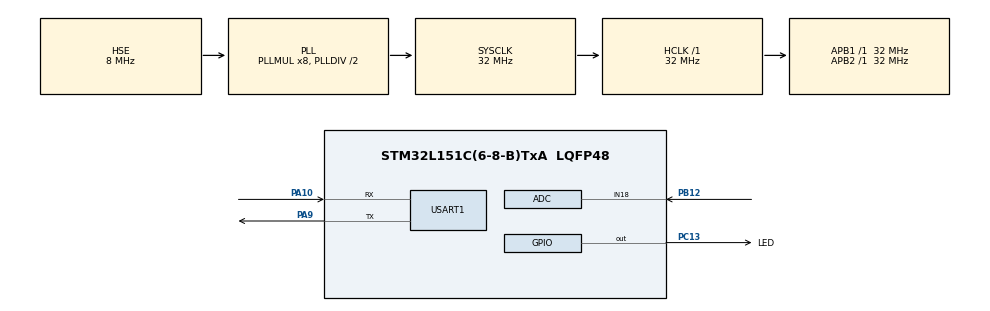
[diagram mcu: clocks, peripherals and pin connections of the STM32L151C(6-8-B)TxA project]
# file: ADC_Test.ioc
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ADC.Channel-0\#ChannelRegularConversion=ADC_CHANNEL_18
ADC.ClockPrescaler=ADC_CLOCK_ASYNC_DIV4
ADC.EOCSelection=ADC_EOC_SINGLE_CONV
ADC.NbrOfConversionFlag=1
ADC.Rank-0\#ChannelRegularConversion=1
ADC.SamplingTime-0\#ChannelRegularConversion=ADC_SAMPLETIME_16CYCLES
Mcu.Family=STM32L1
Mcu.Name=STM32L151C(6-8-B)TxA
Mcu.Package=LQFP48
NVIC.ADC1_IRQn=true\:0\:0\:true\:false\:true\:true\:true\:true
NVIC.PriorityGroup=NVIC_PRIORITYGROUP_4
PA10.Mode=Asynchronous
PA10.Signal=USART1_RX
PA13.Mode=Serial_Wire
PA13.Signal=SYS_JTMS-SWDIO
PA14.Mode=Serial_Wire
PA14.Signal=SYS_JTCK-SWCLK
PA9.Mode=Asynchronous
PA9.Signal=USART1_TX
PB12.Mode=IN18
PB12.Signal=ADC_IN18
PC13-WKUP2.GPIO_Label=LED
PC13-WKUP2.GPIO_ModeDefaultOutputPP=GPIO_MODE_OUTPUT_OD
PC13-WKUP2.GPIO_PuPd=GPIO_NOPULL
PC13-WKUP2.PinState=GPIO_PIN_RESET
PC13-WKUP2.Signal=GPIO_Output
PH0-OSC_IN.Mode=HSE-External-Oscillator
PH0-OSC_IN.Signal=RCC_OSC_IN
PH1-OSC_OUT.Mode=HSE-External-Oscillator
PH1-OSC_OUT.Signal=RCC_OSC_OUT
ProjectManager.HeapSize=0x200
ProjectManager.StackSize=0x400
ProjectManager.TargetToolchain=MDK-ARM V5.32
RCC.48MHZClocksFreq_Value=32000000
RCC.AHBFreq_Value=32000000
RCC.APB1Freq_Value=32000000
RCC.APB1TimFreq_Value=32000000
RCC.APB2Freq_Value=32000000
RCC.APB2TimFreq_Value=32000000
RCC.HCLKFreq_Value=32000000
RCC.HSE_VALUE=8000000
RCC.HSI_VALUE=16000000
RCC.LSE_VALUE=32768
RCC.MSI_VALUE=2097000
RCC.PLLMUL=RCC_PLL_MUL8
RCC.PLLSourceVirtual=RCC_PLLSOURCE_HSE
RCC.SYSCLKFreq_VALUE=32000000
RCC.SYSCLKSource=RCC_SYSCLKSOURCE_PLLCLK
RCC.VCOOutputFreq_Value=64000000
USART1.VirtualMode=VM_ASYNC
board=custom

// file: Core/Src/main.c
/* USER CODE BEGIN Header */
/**
 ******************************************************************************
 * @file           : main.c
 * @brief          : Main program body
 ******************************************************************************
 * @attention
 *
 * Copyright (c) 2026 STMicroelectronics.
 * All rights reserved.
 *
 * This software is licensed under terms that can be found in the LICENSE file
 * in the root directory of this software component.
 * If no LICENSE file comes with this software, it is provided AS-IS.
 *
 ******************************************************************************
 */
/* USER CODE END Header */
#include "main.h"
#include "adc.h"
#include "usart.h"
#include "gpio.h"

/* USER CODE BEGIN PV */
volatile uint16_t adc_value = 0;
volatile uint32_t adc_count = 0;
volatile uint32_t adc_sum = 0;
uint16_t adc_avg = 0;
uint16_t Vbat_mV = 0;
uint8_t u8V[2]={0};
/* USER CODE END PV */

void SystemClock_Config(void);

int main(void)
{

  /* MCU Configuration--------------------------------------------------------*/

  /* Reset of all peripherals, Initializes the Flash interface and the Systick. */
  HAL_Init();

  /* Configure the system clock */
  SystemClock_Config();

  /* Initialize all configured peripherals */
  MX_GPIO_Init();
  MX_ADC_Init();
  MX_USART1_UART_Init();
  /* USER CODE BEGIN 2 */
    HAL_ADC_Start_IT(&hadc);
		HAL_UART_Transmit(&huart1, (uint8_t *)"System is ready\r\n", 17,100);
		HAL_Delay(200);
  /* USER CODE END 2 */

  /* Infinite loop */
  /* USER CODE BEGIN WHILE */
    while (1)
    {
        led_on;
        HAL_Delay(500);
        led_off;
        HAL_Delay(500);
        if (adc_count > 0)
        {
            adc_sum += adc_value;
            adc_avg = (uint16_t)(adc_sum * 1.0 / (adc_count));
            Vbat_mV=Battery_mV(adc_avg);
					  u8V[0]=(uint8_t)(Vbat_mV>>8);
						u8V[1]=(uint8_t)(Vbat_mV&0x00FF);
        }
        if (adc_count >= 4)
        {
					HAL_UART_Transmit(&huart1,u8V,2,100);
          adc_sum = 0;
          adc_count = 0;
        }
				HAL_ADC_Start_IT(&hadc);
    /* USER CODE END WHILE */

    }
}

void SystemClock_Config(void)
{
  RCC_OscInitTypeDef RCC_OscInitStruct = {0};
  RCC_ClkInitTypeDef RCC_ClkInitStruct = {0};

  /** Configure the main internal regulator output voltage
  */
  __HAL_PWR_VOLTAGESCALING_CONFIG(PWR_REGULATOR_VOLTAGE_SCALE1);

  /** Initializes the RCC Oscillators according to the specified parameters
  * in the RCC_OscInitTypeDef structure.
  */
  RCC_OscInitStruct.OscillatorType = RCC_OSCILLATORTYPE_HSI|RCC_OSCILLATORTYPE_HSE;
  RCC_OscInitStruct.HSEState = RCC_HSE_ON;
  RCC_OscInitStruct.HSIState = RCC_HSI_ON;
  RCC_OscInitStruct.HSICalibrationValue = RCC_HSICALIBRATION_DEFAULT;
  RCC_OscInitStruct.PLL.PLLState = RCC_PLL_ON;
  RCC_OscInitStruct.PLL.PLLSource = RCC_PLLSOURCE_HSE;
  RCC_OscInitStruct.PLL.PLLMUL = RCC_PLL_MUL8;
  RCC_OscInitStruct.PLL.PLLDIV = RCC_PLL_DIV2;
  if (HAL_RCC_OscConfig(&RCC_OscInitStruct) != HAL_OK)
  {
    Error_Handler();
  }

  /** Initializes the CPU, AHB and APB buses clocks
  */
  RCC_ClkInitStruct.ClockType = RCC_CLOCKTYPE_HCLK|RCC_CLOCKTYPE_SYSCLK
                              |RCC_CLOCKTYPE_PCLK1|RCC_CLOCKTYPE_PCLK2;
  RCC_ClkInitStruct.SYSCLKSource = RCC_SYSCLKSOURCE_PLLCLK;
  RCC_ClkInitStruct.AHBCLKDivider = RCC_SYSCLK_DIV1;
  RCC_ClkInitStruct.APB1CLKDivider = RCC_HCLK_DIV1;
  RCC_ClkInitStruct.APB2CLKDivider = RCC_HCLK_DIV1;

  if (HAL_RCC_ClockConfig(&RCC_ClkInitStruct, FLASH_LATENCY_1) != HAL_OK)
  {
    Error_Handler();
  }
}

/* USER CODE BEGIN 4 */
void HAL_ADC_ConvCpltCallback(ADC_HandleTypeDef *hadc)
{
    adc_value = (uint16_t)HAL_ADC_GetValue(hadc);
    adc_count++;
		HAL_ADC_Stop(hadc);
}
/* USER CODE END 4 */

void Error_Handler(void)
{
    __disable_irq();
    while (1)
    {
    }
}
